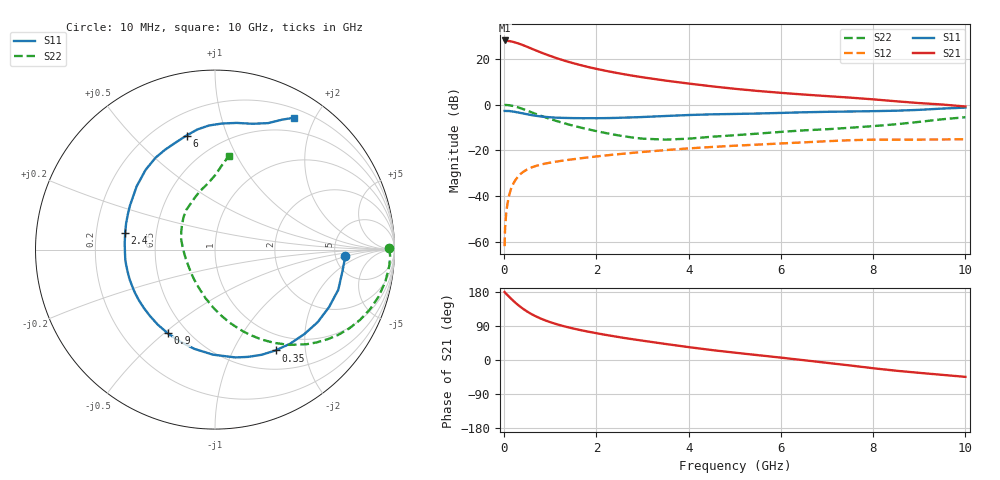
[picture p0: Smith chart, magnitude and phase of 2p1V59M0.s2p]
! (c) 2009  Infineon Technologies AG, Munich
! Infineon Technologies  Discrete & RF Semiconductors
! BFP420
! VCE =  1.5 V,  IC =  9.0 mA
! Common Emitter S-Parameters:  Nov 2009
# GHz  S  MA  R  50
!  f  S11  S21  S12  S22
! GHz  MAG  ANG  MAG  ANG  MAG  ANG  MAG  ANG
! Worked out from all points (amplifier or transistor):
!   46 points, 10 MHz to 10 GHz, reference 50 ohm
!   highest |S21| = 28.0 dB at 10 MHz (marker M1)
!   |S21| within 3 dB of that: start of sweep to 524.3 MHz
!   unconditionally stable (mu >= 1): 2.408 GHz to end of sweep
!   at 300 MHz: K = 0.17, MSG = 29.1 dB, |S12| = -31.5 dB
!   at 1.7 GHz: K = 0.80, MSG = 20.2 dB, |S12| = -23.4 dB
!   at 10 GHz: K = 1.09, MAG = 5.4 dB, |S12| = -15.2 dB
!   S11 on the Smith chart (normalised r, x): 10 MHz: 6.13, -0.88; 350 MHz: 0.76, -1.49; 900 MHz: 0.39, -0.51; 2.4 GHz: 0.33, +0.08; 6 GHz: 0.33, +0.73; 10 GHz: 0.31, +1.72
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0.01  0.7247 -2.7  25.14 179.3  0.0008 96.8  0.9704 0.5
0.02  0.7258 -3.6  24.6 177.7  0.002 91.9  0.9763 -2.0
0.1  0.7224 -18.0  24.45 167.8  0.0097 81.6  0.9658 -10.7
0.2  0.7004 -35.3  23.34 156.1  0.0187 73.8  0.9249 -21.1
0.25  0.6852 -43.4  22.52 150.5  0.0228 70.1  0.8977 -25.9
0.35  0.6553 -59.0  20.89 140.6  0.03 63.5  0.8341 -34.8
0.45  0.6256 -72.8  19.09 131.8  0.0356 58.2  0.767 -42.4
0.6  0.5855 -91.1  16.56 120.6  0.0423 52.0  0.6719 -52.2
0.7  0.5648 -101.8  15.06 114.4  0.0458 49.1  0.6154 -57.6
0.9  0.5351 -119.6  12.55 104.1  0.0513 44.8  0.5213 -66.8
1  0.5257 -127.4  11.53 99.8  0.0536 43.2  0.482 -71.0
1.2  0.5128 -140.6  9.846 92.2  0.0579 41.0  0.4169 -78.4
1.4  0.507 -151.7  8.543 85.9  0.0618 39.4  0.3657 -85.1
1.7  0.5021 -165.6  7.09 77.8  0.0675 37.6  0.3064 -94.6
2.4  0.509 169.5  4.991 62.3  0.0807 34.0  0.2181 -117.8
3.5  0.561 141.1  3.333 42.3  0.1008 27.5  0.1707 -163.4
4.5  0.6098 122.9  2.501 26.3  0.1179 20.3  0.1972 163.0
5.5  0.6356 110.1  1.979 12.8  0.133 13.4  0.231 142.6
6  0.6551 104.0  1.8 6.3  0.1407 9.9  0.2522 134.0
7  0.6923 92.8  1.526 -7.5  0.1576 1.7  0.2882 118.4
8.5  0.7318 73.3  1.176 -28.3  0.1708 -14.0  0.3702 96.2
10  0.855 59.2  0.905 -44.5  0.1741 -24.2  0.5269 81.6
